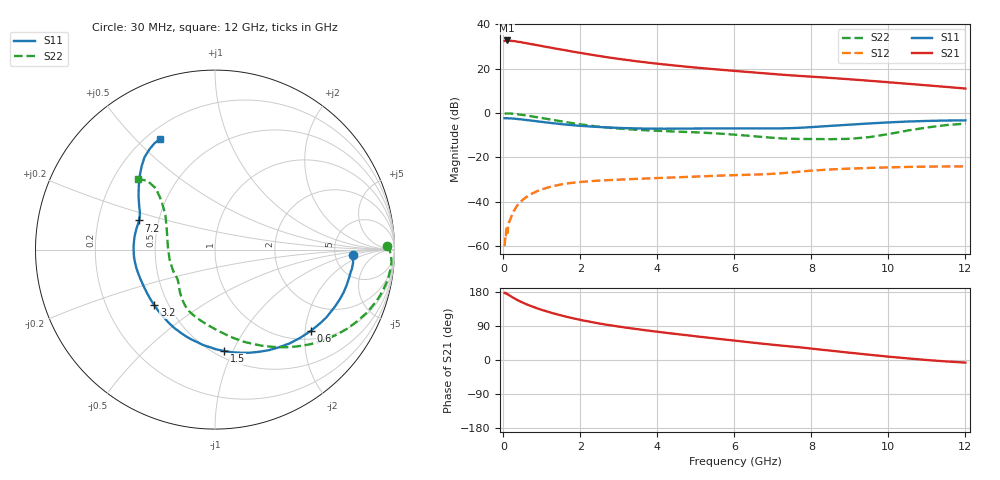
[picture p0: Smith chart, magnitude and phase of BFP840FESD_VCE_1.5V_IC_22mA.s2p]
! Infineon Technologies  Discrete & RF Semiconductors
! BFP840FESD
! VCE =  1.5 V,  IC =  22 mA
! Common Emitter S-Parameters:  May 2012
# GHz  S  MA  R  50
!  f  S11  S21  S12  S22
! GHz  MAG  ANG  MAG  ANG  MAG  ANG  MAG  ANG
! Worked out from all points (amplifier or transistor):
!   103 points, 30 MHz to 12 GHz, reference 50 ohm
!   highest |S21| = 32.8 dB at 80 MHz (marker M1)
!   |S21| within 3 dB of that: start of sweep to 1.146 GHz
!   unconditionally stable (mu >= 1): 5.72 GHz to end of sweep
!   at 400 MHz: K = 0.15, MSG = 36.5 dB, |S12| = -40.8 dB
!   at 3.7 GHz: K = 0.76, MSG = 26.2 dB, |S12| = -29.5 dB
!   at 12 GHz: K = 1.10, MAG = 15.6 dB, |S12| = -24.0 dB
!   S11 on the Smith chart (normalised r, x): 30 MHz: 7.46, -1.07; 600 MHz: 1.20, -2.14; 1.5 GHz: 0.56, -0.93; 3.2 GHz: 0.42, -0.33; 7.2 GHz: 0.39, +0.16; 12 GHz: 0.25, +0.59
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0.03  0.768 -2.2  42.52 176.8  0.001 108.1  0.9558 1.3
0.04  0.7693 -3.0  42.79 176.3  0.0013 98.6  0.9659 0.6
0.05  0.7715 -3.7  43.1 177.1  0.0016 93.4  0.9732 -0.1
0.08  0.7724 -6.0  43.63 175.2  0.0025 93.8  0.9829 -2.3
0.25  0.7551 -18.4  42.38 164.6  0.0059 82.6  0.9701 -11.8
0.35  0.7405 -25.2  41.13 158.8  0.0081 76.6  0.9495 -16.7
0.45  0.7267 -31.2  40.11 153.8  0.0101 73.7  0.9246 -21.0
0.6  0.7 -40.4  37.84 147.0  0.0129 69.7  0.8842 -27.2
0.8  0.6677 -51.5  35.15 139.2  0.0162 63.9  0.8303 -34.6
1  0.6356 -61.9  32.59 132.2  0.0191 59.4  0.776 -41.4
1.3  0.5917 -76.2  29.22 123.0  0.0227 53.4  0.6999 -50.6
1.5  0.5667 -84.9  27.21 117.7  0.0247 50.0  0.6536 -56.3
1.8  0.5358 -97.0  24.44 110.3  0.0269 45.8  0.5935 -64.3
2.1  0.5112 -107.7  22.11 103.7  0.0285 42.3  0.5448 -71.5
2.6  0.4813 -122.7  18.8 94.5  0.0305 38.6  0.4837 -81.6
3.2  0.4589 -137.4  15.86 85.2  0.0322 36.2  0.4356 -91.7
4.1  0.4466 -155.0  12.78 73.3  0.0346 34.9  0.3965 -103.8
6.1  0.4533 175.8  8.846 50.1  0.0403 34.7  0.3228 -125.6
7.2  0.4541 159.0  7.416 38.2  0.0441 37.6  0.2708 -139.5
8.5  0.5173 145.4  6.236 24.6  0.0538 34.9  0.2591 -168.0
10.5  0.6472 127.4  4.602 4.3  0.0613 27.3  0.4055 137.5
12  0.6884 116.6  3.595 -6.8  0.0631 24.4  0.5808 137.4
